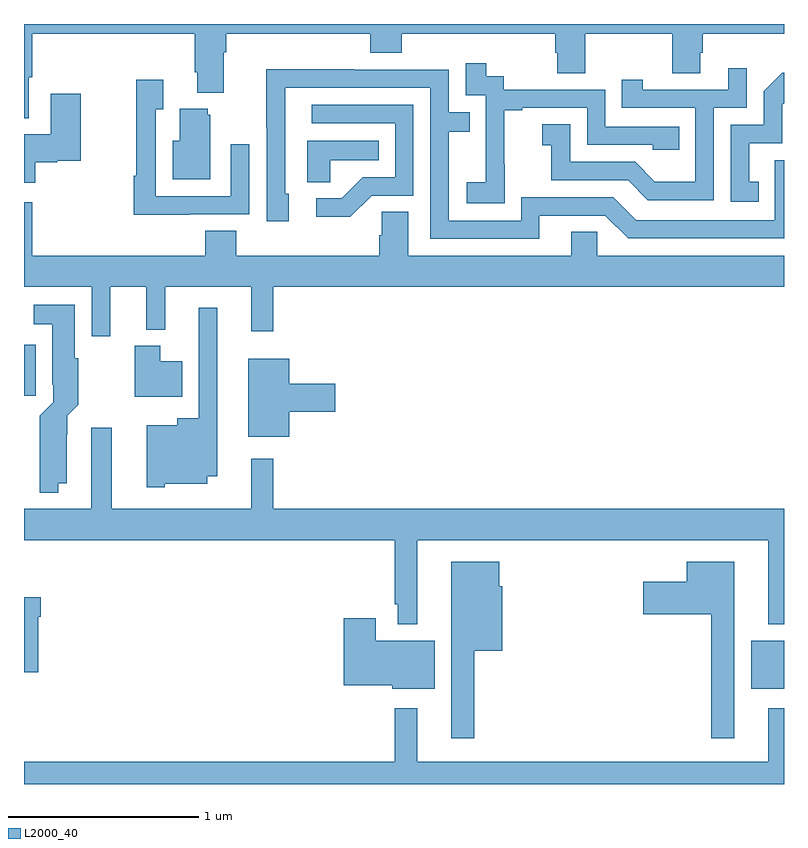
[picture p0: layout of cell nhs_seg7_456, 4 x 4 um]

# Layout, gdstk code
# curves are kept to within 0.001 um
import gdstk
lib = gdstk.Library(unit=1e-6, precision=1e-09)
def R(c, l, rs):  # rectangles x0, y0, x1, y1
    for r in rs: c.add(gdstk.rectangle(r[:2], r[2:], *l))
def P(c, l, *ps):  # polygons
    for p in ps: c.add(gdstk.Polygon(p, *l))
L2000_40 = (2000, 40)

nhs_seg7_456 = lib.new_cell('nhs_seg7_456')
R(nhs_seg7_456, L2000_40, [(150.827,998.501,151,998.755), (147,1000.044,147.061,1000.311)])
P(nhs_seg7_456, L2000_40, [(147.025,1001.719),(147.043,1001.719),(147.043,1001.948),(147.899,1001.948),(147.899,1001.746),(147.911,1001.746),(147.911,1001.639),(148.051,1001.639),(148.051,1001.852),(148.064,1001.852),(148.064,1001.948),(148.823,1001.948),(148.823,1001.849),(148.988,1001.849),(148.988,1001.948),(149.795,1001.948),(149.795,1001.85),(149.807,1001.85),(149.807,1001.74),(149.955,1001.74),(149.955,1001.948),(150.412,1001.948),(150.412,1001.74),(150.559,1001.74),(150.559,1001.85),(150.572,1001.85),(150.572,1001.948),(151,1001.948),(151,1002),(147,1002),(147,1001.504),(147.025,1001.504)],
  [(149.529,1001.263),(149.528,1001.263),(149.528,1001.547),(149.623,1001.547),(149.623,1001.559),(149.964,1001.559),(149.964,1001.364),(150.309,1001.364),(150.309,1001.337),(150.449,1001.337),(150.449,1001.46),(150.06,1001.46),(150.06,1001.655),(149.526,1001.655),(149.526,1001.724),(149.434,1001.724),(149.434,1001.794),(149.325,1001.794),(149.325,1001.625),(149.43,1001.625),(149.43,1001.396),(149.429,1001.396),(149.429,1001.167),(149.331,1001.167),(149.331,1001.057),(149.529,1001.057)],
  [(150.63,1001.559),(150.804,1001.559),(150.804,1001.767),(150.707,1001.767),(150.707,1001.655),(150.256,1001.655),(150.256,1001.707),(150.145,1001.707),(150.145,1001.559),(150.534,1001.559),(150.534,1001.17),(150.32,1001.17),(150.216,1001.274),(149.874,1001.274),(149.874,1001.473),(149.727,1001.473),(149.727,1001.363),(149.776,1001.363),(149.776,1001.178),(150.179,1001.178),(150.284,1001.073),(150.63,1001.073)],
  [(149.713,1000.992),(150.06,1000.992),(150.18,1000.872),(151,1000.872),(151,1001.283),(150.951,1001.283),(150.951,1000.968),(150.222,1000.968),(150.102,1001.088),(149.616,1001.088),(149.616,1000.965),(149.235,1000.965),(149.235,1001.434),(149.345,1001.434),(149.345,1001.535),(149.235,1001.535),(149.235,1001.76),(148.739,1001.76),(148.739,1001.762),(148.276,1001.762),(148.276,1001.455),(148.278,1001.455),(148.278,1000.962),(148.393,1000.962),(148.393,1001.106),(148.374,1001.106),(148.374,1001.664),(149.139,1001.664),(149.139,1000.869),(149.713,1000.869)],
  [(150.866,1001.169),(150.817,1001.169),(150.817,1001.373),(150.99,1001.373),(150.99,1001.574),(151,1001.584),(151,1001.744),(150.992,1001.744),(150.894,1001.646),(150.894,1001.469),(150.72,1001.469),(150.72,1001.064),(150.866,1001.064)],
  [(147.869,1000.998),(148.185,1000.998),(148.185,1001.368),(148.089,1001.368),(148.089,1001.094),(147.693,1001.094),(147.693,1001.551),(147.733,1001.551),(147.733,1001.707),(147.592,1001.707),(147.592,1001.201),(147.577,1001.201),(147.577,1000.997),(147.869,1000.997)],
  [(147.058,1001.272),(147.174,1001.272),(147.174,1001.279),(147.298,1001.279),(147.298,1001.632),(147.14,1001.632),(147.14,1001.419),(147,1001.419),(147,1001.165),(147.058,1001.165)],
  [(148.83,1001.097),(149.049,1001.097),(149.049,1001.574),(148.515,1001.574),(148.515,1001.478),(148.953,1001.478),(148.953,1001.193),(148.784,1001.193),(148.673,1001.082),(148.539,1001.082),(148.539,1000.985),(148.717,1000.985)],
  [(147.979,1001.523),(147.968,1001.523),(147.968,1001.554),(147.821,1001.554),(147.821,1001.386),(147.782,1001.386),(147.782,1001.183),(147.979,1001.183)],
  [(148.611,1001.282),(148.868,1001.282),(148.868,1001.386),(148.49,1001.386),(148.49,1001.167),(148.611,1001.167)],
  [(147.455,1000.616),(147.644,1000.616),(147.644,1000.391),(147.743,1000.391),(147.743,1000.616),(148.196,1000.616),(148.196,1000.383),(148.313,1000.383),(148.313,1000.616),(151,1000.616),(151,1000.78),(150.018,1000.78),(150.018,1000.907),(149.879,1000.907),(149.879,1000.78),(149.023,1000.78),(149.023,1001.012),(148.884,1001.012),(148.884,1000.889),(148.871,1000.889),(148.871,1000.78),(148.118,1000.78),(148.118,1000.913),(147.953,1000.913),(147.953,1000.78),(147.043,1000.78),(147.043,1001.062),(147,1001.062),(147,1000.616),(147.357,1000.616),(147.357,1000.356),(147.455,1000.356)],
  [(147.181,999.584),(147.226,999.584),(147.227,999.938),(147.286,999.997),(147.286,1000.242),(147.268,1000.242),(147.268,1000.522),(147.051,1000.522),(147.051,1000.421),(147.149,1000.421),(147.149,1000.102),(147.153,1000.102),(147.153,1000.008),(147.083,999.938),(147.084,999.533),(147.181,999.533)],
  [(147.741,999.581),(147.964,999.581),(147.964,999.62),(148.018,999.62),(148.018,1000.507),(147.921,1000.507),(147.921,999.925),(147.806,999.925),(147.806,999.889),(147.647,999.889),(147.647,999.563),(147.741,999.563)],
  [(147.832,1000.225),(147.718,1000.225),(147.718,1000.306),(147.584,1000.306),(147.584,1000.037),(147.832,1000.037)],
  [(148.396,999.959),(148.639,999.959),(148.639,1000.106),(148.396,1000.106),(148.396,1000.237),(148.181,1000.237),(148.181,999.827),(148.396,999.827)],
  [(149.071,999.284),(150.917,999.284),(150.917,998.84),(151,998.84),(151,999.448),(148.313,999.448),(148.313,999.712),(148.195,999.712),(148.195,999.448),(147.463,999.448),(147.463,999.874),(147.353,999.874),(147.353,999.448),(147,999.448),(147,999.284),(148.95,999.284),(148.95,998.947),(148.967,998.947),(148.967,998.84),(149.071,998.84)],
  [(149.371,998.702),(149.518,998.702),(149.518,999.042),(149.5,999.042),(149.5,999.169),(149.249,999.169),(149.249,998.241),(149.371,998.241)],
  [(150.739,999.169),(150.488,999.169),(150.488,999.064),(150.258,999.064),(150.258,998.894),(150.618,998.894),(150.618,998.241),(150.739,998.241)],
  [(147.076,998.879),(147.089,998.879),(147.089,998.983),(147,998.983),(147,998.588),(147.076,998.588)],
  [(149.161,998.755),(148.852,998.755),(148.852,998.872),(148.682,998.872),(148.682,998.519),(148.938,998.519),(148.938,998.501),(149.161,998.501)],
  [(151,998.398),(150.917,998.398),(150.917,998.116),(149.071,998.116),(149.071,998.398),(148.95,998.398),(148.95,998.116),(147,998.116),(147,998),(151,998)])

lib.write_gds('nhs_seg7_456.gds')
